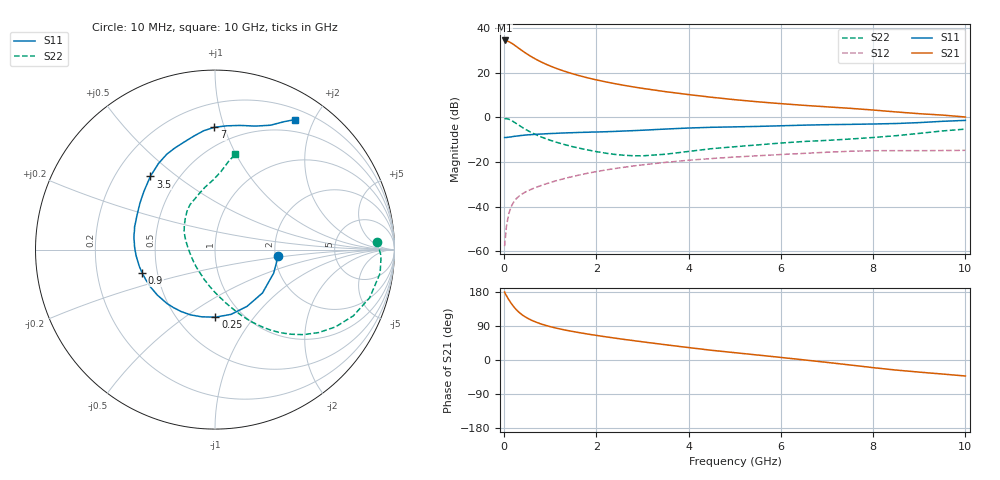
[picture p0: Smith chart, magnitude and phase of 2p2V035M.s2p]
! (c) 2009  Infineon Technologies AG, Munich
! Infineon Technologies  Discrete & RF Semiconductors
! BFP420
! VCE =  2.0 V,  IC =  35 mA
! Common Emitter S-Parameters:  Nov 2009
# GHz  S  MA  R  50
!  f  S11  S21  S12  S22
! GHz  MAG  ANG  MAG  ANG  MAG  ANG  MAG  ANG
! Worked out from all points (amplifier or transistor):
!   46 points, 10 MHz to 10 GHz, reference 50 ohm
!   highest |S21| = 34.4 dB at 10 MHz (marker M1)
!   |S21| within 3 dB of that: start of sweep to 284.8 MHz
!   unconditionally stable (mu >= 1): start of sweep to 11.29 MHz; 1.401 GHz to end of sweep
!   at 300 MHz: K = 0.44, MSG = 33.5 dB, |S12| = -35.8 dB
!   at 1.7 GHz: K = 1.05, MAG = 20.5 dB, |S12| = -25.5 dB
!   at 10 GHz: K = 1.06, MAG = 6.0 dB, |S12| = -14.8 dB
!   lowest NFmin = 1.64 dB at 900 MHz
!   S11 on the Smith chart (normalised r, x): 10 MHz: 2.07, -0.16; 250 MHz: 0.76, -0.66; 900 MHz: 0.41, -0.13; 3.5 GHz: 0.35, +0.40; 7 GHz: 0.36, +0.93; 10 GHz: 0.33, +1.74
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0.01  0.3519 -5.5  52.33 179.5  0.0013 115.6  0.9044 2.8
0.02  0.3517 -8.8  51.39 176.0  0.0017 96.1  0.9261 -2.3
0.05  0.3522 -21.9  50.96 169.6  0.0036 84.5  0.9294 -8.1
0.1  0.3583 -42.4  49.25 159.3  0.0069 78.4  0.9025 -17.3
0.15  0.3631 -60.5  46.25 150.0  0.0098 73.4  0.8543 -25.6
0.2  0.3717 -76.1  42.87 141.8  0.0123 69.4  0.7975 -32.7
0.25  0.3764 -89.6  39.29 134.5  0.0145 66.2  0.7394 -38.7
0.3  0.3818 -101.2  36.1 128.4  0.0163 63.9  0.6834 -43.9
0.35  0.3884 -110.6  33.1 123.1  0.018 62.1  0.6323 -48.2
0.4  0.3933 -118.7  30.42 118.4  0.0195 60.9  0.5867 -52.0
0.5  0.4023 -131.8  25.9 110.7  0.0222 59.5  0.5096 -58.2
0.6  0.4092 -141.9  22.36 104.5  0.0247 58.9  0.4495 -63.3
0.7  0.4156 -150.0  19.57 99.5  0.0272 58.7  0.402 -67.5
0.9  0.4263 -162.3  15.52 91.4  0.0321 58.7  0.3321 -74.7
1.3  0.4445 -179.0  10.76 79.6  0.0423 58.1  0.246 -88.2
1.7  0.4591 169.2  8.155 70.7  0.0528 56.4  0.1957 -102.0
2.4  0.4818 152.4  5.645 57.8  0.071 51.3  0.1472 -130.1
3.5  0.5441 131.5  3.736 40.2  0.0977 41.2  0.1487 178.8
5.5  0.6234 106.0  2.217 13.1  0.1374 22.0  0.2405 133.5
7  0.6813 90.3  1.708 -6.3  0.1647 7.6  0.3033 111.9
8.5  0.7239 71.9  1.314 -26.6  0.1784 -9.7  0.3866 91.8
10  0.8504 58.4  1.012 -42.2  0.1814 -21.0  0.5426 78.1
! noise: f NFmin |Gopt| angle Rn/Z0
0.9  1.64  0.3  -155  0.13
1.8  1.9  0.37  -142  0.15
2.4  2.1  0.34  -134  0.19
3  2.11  0.4  -126  0.22
4  2.25  0.5  -110  0.35
5  2.73  0.54  -94  0.59
6  3.16  0.59  -82  0.84
